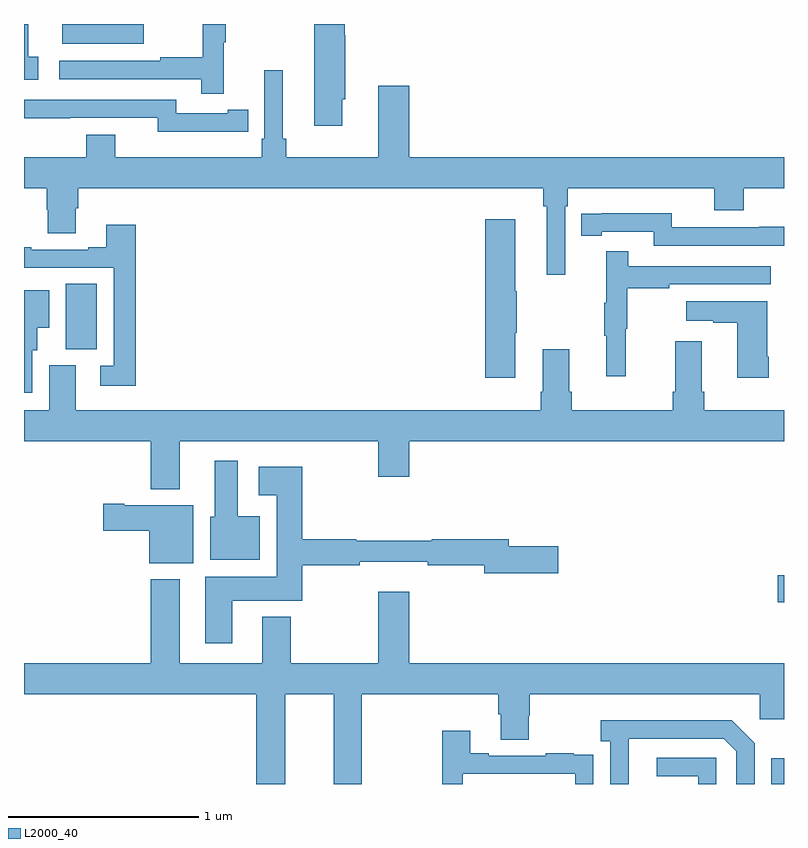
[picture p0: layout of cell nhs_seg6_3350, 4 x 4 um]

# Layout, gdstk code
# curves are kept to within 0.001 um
import gdstk
lib = gdstk.Library(unit=1e-6, precision=1e-09)
def R(c, l, rs):  # rectangles x0, y0, x1, y1
    for r in rs: c.add(gdstk.rectangle(r[:2], r[2:], *l))
def P(c, l, *ps):  # polygons
    for p in ps: c.add(gdstk.Polygon(p, *l))
L2000_40 = (2000, 40)

nhs_seg6_3350 = lib.new_cell('nhs_seg6_3350')
R(nhs_seg6_3350, L2000_40, [(310.934,977.5,311,977.635), (310.968,978.457,311,978.599), (307.22,979.789,307.384,980.132)])
P(nhs_seg6_3350, L2000_40, [(307.63,981.499),(307.487,981.499),(307.487,981.5),(307.202,981.5),(307.202,981.395),(307.63,981.395)],
  [(308.051,981.403),(308.062,981.403),(308.062,981.5),(307.941,981.5),(307.941,981.326),(307.717,981.326),(307.717,981.306),(307.185,981.306),(307.185,981.21),(307.933,981.21),(307.933,981.132),(308.051,981.132)],
  [(307.075,981.327),(307.022,981.327),(307.022,981.5),(307,981.5),(307,981.207),(307.075,981.207)],
  [(308.674,981.105),(308.692,981.105),(308.692,981.441),(308.687,981.441),(308.687,981.5),(308.528,981.5),(308.528,980.964),(308.674,980.964)],
  [(309.849,980.54),(309.863,980.54),(309.863,980.636),(310.634,980.636),(310.634,980.519),(310.787,980.519),(310.787,980.636),(311,980.636),(311,980.8),(309.028,980.8),(309.028,981.175),(308.864,981.175),(308.864,980.8),(308.381,980.8),(308.381,980.896),(308.362,980.896),(308.362,981.256),(308.265,981.256),(308.265,980.896),(308.252,980.896),(308.252,980.8),(307.48,980.8),(307.48,980.917),(307.328,980.917),(307.328,980.8),(307,980.8),(307,980.636),(307.121,980.636),(307.121,980.523),(307.126,980.523),(307.126,980.398),(307.273,980.398),(307.273,980.53),(307.286,980.53),(307.286,980.636),(309.733,980.636),(309.733,980.54),(309.752,980.54),(309.752,980.181),(309.849,980.181)],
  [(308.072,980.934),(308.18,980.934),(308.18,981.05),(308.072,981.05),(308.072,981.03),(307.8,981.03),(307.8,981.102),(307,981.102),(307,981.005),(307.244,981.005),(307.244,981.006),(307.704,981.006),(307.704,980.933),(308.072,980.933)],
  [(311,980.432),(310.87,980.432),(310.87,980.43),(310.41,980.43),(310.41,980.503),(310.042,980.503),(310.042,980.502),(309.934,980.502),(309.934,980.386),(310.042,980.386),(310.042,980.406),(310.314,980.406),(310.314,980.334),(311,980.334)],
  [(309.586,979.876),(309.594,979.876),(309.594,980.093),(309.586,980.093),(309.586,980.473),(309.428,980.473),(309.428,979.638),(309.586,979.638)],
  [(307.589,980.443),(307.433,980.443),(307.433,980.326),(307.337,980.326),(307.337,980.313),(307.037,980.313),(307.037,980.326),(307,980.326),(307,980.217),(307.473,980.217),(307.473,979.701),(307.401,979.701),(307.401,979.596),(307.589,979.596)],
  [(310.166,979.896),(310.174,979.896),(310.174,980.11),(310.397,980.11),(310.397,980.13),(310.93,980.13),(310.93,980.226),(310.181,980.226),(310.181,980.305),(310.064,980.305),(310.064,980.033),(310.053,980.033),(310.053,979.859),(310.064,979.859),(310.064,979.647),(310.166,979.647)],
  [(307.044,979.782),(307.069,979.782),(307.069,979.901),(307.132,979.901),(307.132,980.098),(307,980.098),(307,979.56),(307.044,979.56)],
  [(310.92,979.75),(310.912,979.75),(310.912,980.041),(310.485,980.041),(310.485,979.937),(310.628,979.937),(310.628,979.927),(310.754,979.927),(310.754,979.638),(310.92,979.638)],
  [(307.819,979.304),(308.864,979.304),(308.864,979.116),(309.028,979.116),(309.028,979.304),(311,979.304),(311,979.468),(310.58,979.468),(310.58,979.564),(310.567,979.564),(310.567,979.831),(310.427,979.831),(310.427,979.564),(310.415,979.564),(310.415,979.468),(309.884,979.468),(309.884,979.564),(309.871,979.564),(309.871,979.789),(309.731,979.789),(309.731,979.564),(309.719,979.564),(309.719,979.468),(307.273,979.468),(307.273,979.704),(307.133,979.704),(307.133,979.468),(307,979.468),(307,979.304),(307.667,979.304),(307.667,979.052),(307.819,979.052)],
  [(308.242,978.91),(308.125,978.91),(308.125,979.201),(308.003,979.201),(308.003,978.906),(307.979,978.906),(307.979,978.68),(308.242,978.68)],
  [(308.095,978.464),(308.465,978.464),(308.465,978.652),(308.768,978.652),(308.768,978.671),(309.124,978.671),(309.124,978.652),(309.422,978.652),(309.422,978.61),(309.811,978.61),(309.811,978.752),(309.55,978.752),(309.55,978.788),(309.146,978.788),(309.146,978.781),(308.748,978.781),(308.748,978.788),(308.465,978.788),(308.465,979.171),(308.235,979.171),(308.235,979.019),(308.33,979.019),(308.33,978.592),(307.955,978.592),(307.955,978.24),(308.095,978.24)],
  [(307.891,978.967),(307.528,978.967),(307.528,978.975),(307.416,978.975),(307.416,978.833),(307.658,978.833),(307.658,978.662),(307.891,978.662)],
  [(308.374,977.972),(308.63,977.972),(308.63,977.5),(308.778,977.5),(308.778,977.972),(309.497,977.972),(309.497,977.866),(309.509,977.866),(309.509,977.734),(309.657,977.734),(309.657,977.859),(309.662,977.859),(309.662,977.972),(310.872,977.972),(310.872,977.841),(311,977.841),(311,978.136),(309.028,978.136),(309.028,978.511),(308.864,978.511),(308.864,978.136),(308.403,978.136),(308.403,978.379),(308.255,978.379),(308.255,978.136),(307.819,978.136),(307.819,978.577),(307.667,978.577),(307.667,978.136),(307,978.136),(307,977.972),(308.222,977.972),(308.222,977.5),(308.374,977.5)],
  [(310.182,977.539),(310.183,977.739),(310.683,977.739),(310.749,977.673),(310.749,977.5),(310.845,977.5),(310.845,977.715),(310.724,977.836),(310.035,977.836),(310.035,977.726),(310.086,977.726),(310.086,977.5),(310.182,977.5)],
  [(309.309,977.553),(309.9,977.553),(309.9,977.5),(309.996,977.5),(309.996,977.546),(309.995,977.546),(309.995,977.655),(309.893,977.655),(309.893,977.662),(309.745,977.662),(309.745,977.649),(309.445,977.649),(309.445,977.662),(309.349,977.662),(309.349,977.779),(309.201,977.779),(309.201,977.5),(309.309,977.5)],
  [(310.644,977.637),(310.329,977.637),(310.329,977.541),(310.548,977.541),(310.548,977.5),(310.644,977.5)])

lib.write_gds('nhs_seg6_3350.gds')
